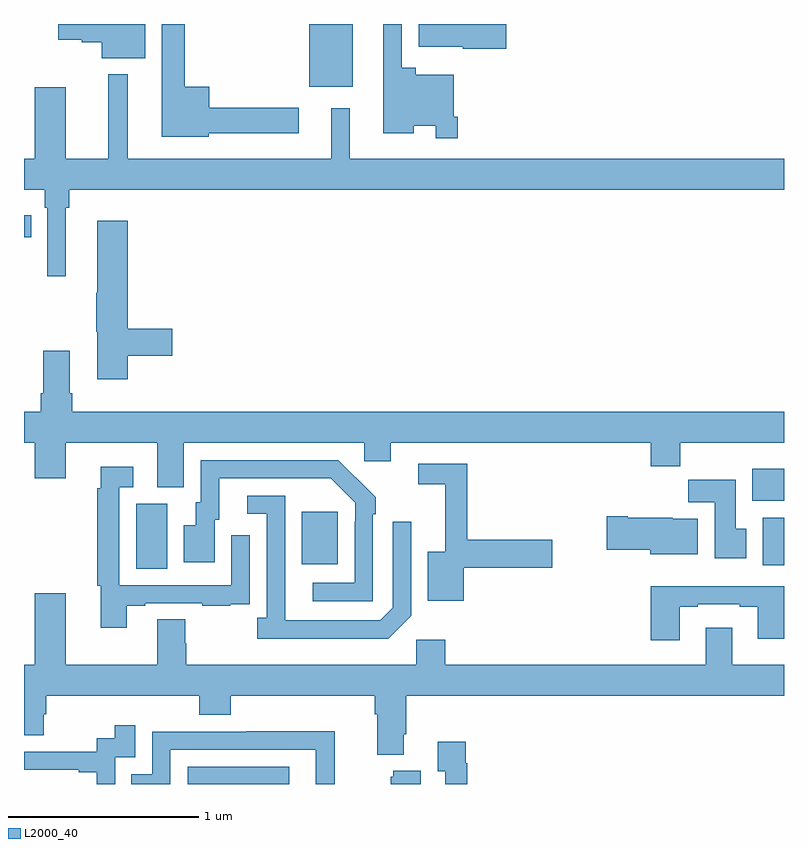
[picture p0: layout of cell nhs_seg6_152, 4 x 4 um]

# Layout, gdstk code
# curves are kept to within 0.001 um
import gdstk
lib = gdstk.Library(unit=1e-6, precision=1e-09)
def R(c, l, rs):  # rectangles x0, y0, x1, y1
    for r in rs: c.add(gdstk.rectangle(r[:2], r[2:], *l))
def P(c, l, *ps):  # polygons
    for p in ps: c.add(gdstk.Polygon(p, *l))
L2000_40 = (2000, 40)

nhs_seg6_152 = lib.new_cell('nhs_seg6_152')
R(nhs_seg6_152, L2000_40, [(117.861,985.5,118.396,985.59), (117.59,986.632,117.754,986.976), (120.887,986.652,121,986.902), (118.463,986.657,118.651,986.932), (120.833,986.99,121,987.16), (117,988.378,117.038,988.494), (118.502,989.171,118.729,989.5)])
P(nhs_seg6_152, L2000_40, [(119.282,989.011),(119.262,989.011),(119.262,989.233),(119.063,989.233),(119.063,989.269),(118.989,989.269),(118.989,989.5),(118.892,989.5),(118.892,988.925),(119.05,988.925),(119.05,988.964),(119.166,988.964),(119.166,988.899),(119.282,988.899)],
  [(119.539,989.5),(119.078,989.5),(119.078,989.381),(119.31,989.381),(119.31,989.369),(119.539,989.369)],
  [(117.972,988.925),(118.447,988.925),(118.447,989.06),(117.976,989.06),(117.976,989.17),(117.847,989.17),(117.847,989.5),(117.725,989.5),(117.725,988.907),(117.972,988.907)],
  [(117.637,989.5),(117.18,989.5),(117.18,989.417),(117.303,989.417),(117.303,989.405),(117.41,989.405),(117.41,989.321),(117.637,989.321)],
  [(117.22,988.532),(117.239,988.532),(117.239,988.628),(121,988.628),(121,988.792),(118.714,988.792),(118.714,989.056),(118.616,989.056),(118.616,988.792),(117.547,988.792),(117.547,989.236),(117.443,989.236),(117.443,988.792),(117.22,988.792),(117.22,989.167),(117.056,989.167),(117.056,988.792),(117,988.792),(117,988.628),(117.11,988.628),(117.11,988.532),(117.123,988.532),(117.123,988.173),(117.22,988.173)],
  [(117.545,987.754),(117.781,987.754),(117.781,987.896),(117.545,987.896),(117.545,988.465),(117.386,988.465),(117.386,988.085),(117.379,988.085),(117.379,987.879),(117.386,987.879),(117.386,987.63),(117.545,987.63)],
  [(117.841,987.296),(118.791,987.296),(118.791,987.198),(118.93,987.198),(118.93,987.296),(120.299,987.296),(120.299,987.172),(120.455,987.172),(120.455,987.296),(121,987.296),(121,987.46),(117.254,987.46),(117.254,987.556),(117.241,987.556),(117.241,987.781),(117.101,987.781),(117.101,987.556),(117.089,987.556),(117.089,987.46),(117,987.46),(117,987.296),(117.056,987.296),(117.056,987.108),(117.22,987.108),(117.22,987.296),(117.701,987.296),(117.701,987.061),(117.841,987.061)],
  [(118.836,986.921),(118.851,986.921),(118.851,987.009),(118.654,987.204),(117.93,987.204),(117.93,986.982),(117.905,986.982),(117.905,986.863),(117.842,986.863),(117.842,986.667),(118.003,986.667),(118.003,986.892),(118.027,986.892),(118.027,987.108),(118.615,987.108),(118.743,986.979),(118.743,986.879),(118.74,986.879),(118.74,986.559),(118.521,986.559),(118.521,986.463),(118.836,986.463)],
  [(119.314,986.639),(119.779,986.639),(119.779,986.786),(119.333,986.786),(119.333,987.186),(119.076,987.186),(119.076,987.078),(119.216,987.078),(119.216,986.722),(119.126,986.722),(119.126,986.465),(119.314,986.465)],
  [(117.541,986.439),(117.637,986.439),(117.637,986.451),(117.937,986.451),(117.937,986.439),(118.085,986.439),(118.085,986.445),(118.187,986.445),(118.187,986.554),(118.188,986.554),(118.188,986.809),(118.092,986.809),(118.092,986.547),(117.501,986.547),(117.501,987.063),(117.574,987.063),(117.574,987.169),(117.404,987.169),(117.404,987.056),(117.385,987.056),(117.385,986.544),(117.404,986.544),(117.404,986.322),(117.541,986.322)],
  [(120.802,986.844),(120.745,986.844),(120.745,987.102),(120.496,987.102),(120.496,986.984),(120.635,986.984),(120.635,986.688),(120.802,986.688)],
  [(119.037,986.385),(119.037,986.881),(118.941,986.881),(118.941,986.427),(118.875,986.361),(118.375,986.361),(118.374,987.018),(118.176,987.018),(118.176,986.922),(118.278,986.922),(118.278,986.374),(118.227,986.374),(118.227,986.264),(118.916,986.264)],
  [(120.547,986.896),(120.414,986.896),(120.414,986.902),(120.178,986.902),(120.178,986.91),(120.066,986.91),(120.066,986.732),(120.296,986.732),(120.296,986.708),(120.547,986.708)],
  [(120.451,986.433),(120.547,986.433),(120.547,986.445),(120.767,986.445),(120.767,986.433),(120.863,986.433),(120.863,986.264),(121,986.264),(121,986.542),(120.299,986.542),(120.299,986.256),(120.451,986.256)],
  [(118.999,985.762),(119.012,985.762),(119.012,985.964),(121,985.964),(121,986.128),(120.727,986.128),(120.727,986.323),(120.587,986.323),(120.587,986.128),(119.216,986.128),(119.216,986.26),(119.064,986.26),(119.064,986.128),(117.854,986.128),(117.854,986.241),(117.849,986.241),(117.849,986.366),(117.701,986.366),(117.701,986.128),(117.22,986.128),(117.22,986.503),(117.056,986.503),(117.056,986.128),(117,986.128),(117,985.756),(117.103,985.756),(117.103,985.866),(117.116,985.866),(117.116,985.964),(117.923,985.964),(117.923,985.865),(118.088,985.865),(118.088,985.964),(118.847,985.964),(118.847,985.868),(118.859,985.868),(118.859,985.655),(118.999,985.655)],
  [(117.48,985.641),(117.585,985.641),(117.585,985.81),(117.477,985.81),(117.477,985.74),(117.384,985.74),(117.384,985.671),(117,985.671),(117,985.575),(117.287,985.575),(117.287,985.563),(117.383,985.563),(117.383,985.5),(117.48,985.5)],
  [(117.771,985.68),(118.536,985.68),(118.536,985.5),(118.635,985.5),(118.635,985.778),(118.171,985.778),(118.171,985.776),(117.675,985.776),(117.675,985.551),(117.565,985.551),(117.565,985.5),(117.771,985.5)],
  [(119.333,985.61),(119.326,985.61),(119.326,985.723),(119.177,985.723),(119.177,985.567),(119.217,985.567),(119.217,985.5),(119.333,985.5)],
  [(119.089,985.57),(118.943,985.57),(118.943,985.539),(118.931,985.539),(118.931,985.5),(119.089,985.5)])

lib.write_gds('nhs_seg6_152.gds')
